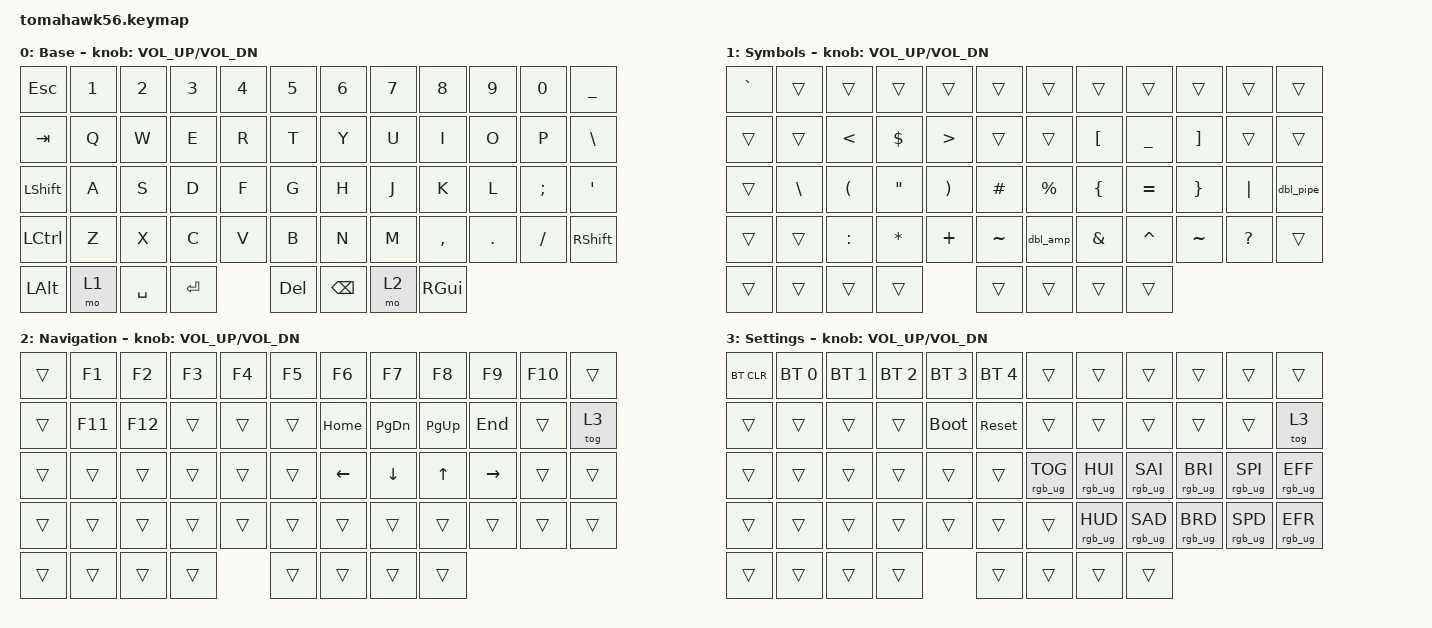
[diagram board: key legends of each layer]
/*
 * Copyright (c) 2020 The ZMK Contributors
 *
 * SPDX-License-Identifier: MIT
 */

#include <behaviors.dtsi>
#include <dt-bindings/zmk/bt.h>
#include <dt-bindings/zmk/keys.h>
#include <dt-bindings/zmk/rgb.h>
#include <dt-bindings/zmk/backlight.h>

/*
 * Assign the cs-gpios pin to 4.
 * Uncomment these next few lines if implementing nice!view Displays
 */

// nice_view_spi: &spi0 { cs-gpios = <&pro_micro 4 GPIO_ACTIVE_HIGH>; };

// Uncomment this block if using RGB
&led_strip {
    chain-length = <28>;
};

/ {
    macros {
        dbl_amp: dbl_amp {
            compatible = "zmk,behavior-macro";
            #binding-cells = <0>;
            bindings = <&kp AMPS &kp AMPS>;
        };
        dbl_pipe: dbl_pipe {
            compatible = "zmk,behavior-macro";
            #binding-cells = <0>;
            bindings = <&kp PIPE &kp PIPE>;
        };
    };

    keymap {
        compatible = "zmk,keymap";

        default_layer {
// ------------------------------------------------------------------------------------------------------------
// |  ESC  |  1  |  2   |  3   |  4   |  5   |            |  6   |  7   |  8    |  9   |   0   | BSPC  |
// |  TAB  |  Q  |  W   |  E   |  R   |  T   |            |  Y   |  U   |  I    |  O   |   P   |   -   |
// |  CTRL |  A  |  S   |  D   |  F   |  G   |            |  H   |  J   |  K    |  L   |   ;   |   '   |
// | SHIFT |  Z  |  X   |  C   |  V   |  B   |            |  N   |  M   |  ,    |  .   |   /   | SHIFT |
//               | CTRL | CMD  |LOWER |SPACE |            |ENTER |RAISE |  CMD  | OPT  |

            display-name = "Base";
            bindings = <
&kp ESCAPE        &kp N1  &kp N2            &kp N3            &kp N4  &kp N5               &kp N6  &kp N7  &kp N8             &kp N9          &kp N0    &kp UNDERSCORE
&kp TAB           &kp Q   &kp W             &kp E             &kp R   &kp T                &kp Y   &kp U   &kp I              &kp O           &kp P     &kp BACKSLASH
&kp LEFT_SHIFT    &kp A   &kp S             &kp D             &kp F   &kp G                &kp H   &kp J   &kp K              &kp L           &kp SEMI  &kp SQT
&kp LEFT_CONTROL  &kp Z   &kp X             &kp C             &kp V   &kp B                &kp N   &kp M   &kp COMMA          &kp DOT         &kp FSLH  &kp RSHFT
        &kp LALT   &mo 1   &kp SPACE        &kp RET                 &kp DEL &kp BACKSPACE &mo 2 &kp RGUI
            >;

            sensor-bindings = <&inc_dec_kp C_VOL_UP C_VOL_DN>;
        };



        symbols_layer {
 // ------------------------------------------------------------------------------------------------------------
// |       |     |     |      |      |      |            |      |       |       |      |       |       |
// |   `   |  1  |  2  |  3   |  4   |  5   |            |  6   |   7   |   8   |  9   |   0   |       |
// |   F1  |  F2 |  F3 |  F4  |  F5  |  F6  |            |      |   <-  |   v   |  ^   |  ->   |       |
// |   F7  |  F8 |  F9 |  F10 |  F11 |  F12 |            |  +   |   -   |   =   |  [   |   ]   |   \   |
//                    |      |      |      |            |      |       |       |

            display-name = "Symbols";
            bindings = <
&kp GRAVE  &trans     &trans     &trans    &trans         &trans            &trans       &trans     &trans     &trans    &trans       &trans
&trans  &trans     &kp LT     &kp DOLLAR  &kp GT       &trans            &trans       &kp LBKT   &kp UNDER   &kp RBKT    &trans    &trans
&trans  &kp BSLH   &kp LPAR   &kp DQT     &kp RPAR     &kp POUND         &kp PERCENT  &kp LBRC   &kp EQUAL  &kp RBRC     &kp PIPE  &dbl_pipe
&trans  &trans     &kp COLON  &kp STAR    &kp PLUS     &kp TILDE            &dbl_amp     &kp AMPS   &kp CARET  &kp TILDE    &kp QUESTION    &trans
                           &trans   &trans   &trans    &trans            &trans       &trans     &trans     &trans
            >;

            sensor-bindings = <&inc_dec_kp C_VOL_UP C_VOL_DN>;
        };

        nav_layer {


            display-name = "Navigation";
            bindings = <
&trans     &kp F1    &kp F2    &kp F3     &kp F4  &kp F5            &kp F6       &kp F7     &kp F8     &kp F9     &kp F10     &trans
&trans     &kp F11   &kp F12   &trans     &trans  &trans            &kp HOME     &kp PG_DN  &kp PG_UP  &kp END    &trans      &tog 3
&trans     &trans    &trans    &trans     &trans  &trans            &kp LEFT     &kp DOWN   &kp UP     &kp RIGHT  &trans      &trans
&trans     &trans    &trans    &trans     &trans  &trans            &trans       &trans     &trans     &trans     &trans      &trans
                     &trans    &trans     &trans  &trans            &trans       &trans     &trans     &trans
            >;

            sensor-bindings = <&inc_dec_kp C_VOL_UP C_VOL_DN>;
        };

        settings_layer {


    // ------------------------------------------------------------------------------------------------------------
// | BTCLR | BT1 | BT2 |  BT3 |  BT4 |  BT5 |            |  UG  |  UG   |  UG   |  UG  |  UG   |  UG   |
// |  F1   |  F2 |  F3 |  F4  |  F5  |  F6  |            |      |  UG   |  UG   |  UG  |  UG   |  UG   |
// |   `   |  !  |  @  |  #   |  $   |  %   |            |  ^   |  &    |  *    |  (   |   )   |   ~   |
// |       |     |     |      |  [   |  ]   |            |      |  _    |  +    |  {   |   }   |  "|"  |
//                     |      |      |      |            |      |       |       |

            display-name = "Settings";
            bindings = <
&bt BT_CLR  &bt BT_SEL 0  &bt BT_SEL 1  &bt BT_SEL 2  &bt BT_SEL 3  &bt BT_SEL 4         &trans           &trans           &trans           &trans           &trans           &trans
&trans      &trans        &trans        &trans        &bootloader   &sys_reset           &trans           &trans           &trans           &trans           &trans           &tog 3
&trans      &trans        &trans        &trans        &trans        &trans               &rgb_ug RGB_TOG  &rgb_ug RGB_HUI  &rgb_ug RGB_SAI  &rgb_ug RGB_BRI  &rgb_ug RGB_SPI  &rgb_ug RGB_EFF
&trans      &trans        &trans        &trans        &trans        &trans               &trans           &rgb_ug RGB_HUD  &rgb_ug RGB_SAD  &rgb_ug RGB_BRD  &rgb_ug RGB_SPD  &rgb_ug RGB_EFR
                          &trans        &trans        &trans        &trans               &trans           &trans     &trans     &trans
            >;

            sensor-bindings = <&inc_dec_kp C_VOL_UP C_VOL_DN>;
        };

        extra_1 { status = "reserved"; };

        extra_2 { status = "reserved"; };

        extra_3 { status = "reserved"; };
    };
};
